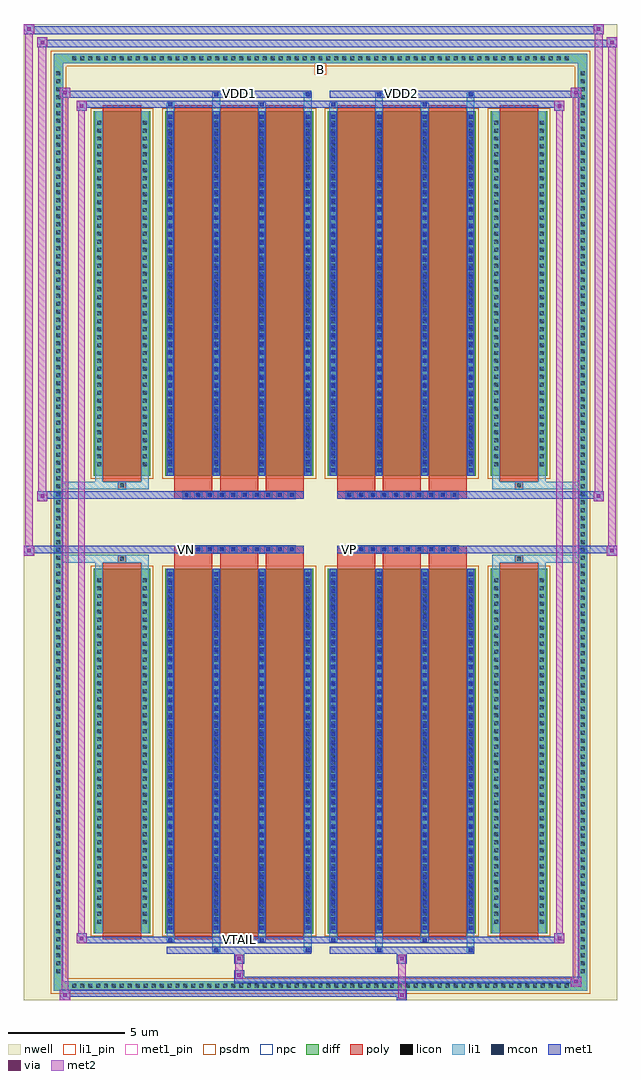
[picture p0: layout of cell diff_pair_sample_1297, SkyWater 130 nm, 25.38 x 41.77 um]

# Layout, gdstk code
import gdstk
lib = gdstk.Library(unit=1e-6, precision=5e-09)
def R(c, l, rs):  # rectangles x0, y0, x1, y1
    for r in rs: c.add(gdstk.rectangle(r[:2], r[2:], *l))
def A(c, l, x, y, w, h, nx, ny, dx, dy):  # array of equal rectangles
    R(c, l, [(x+i*dx, y+j*dy, x+i*dx+w, y+j*dy+h) for i in range(nx) for j in range(ny)])
def P(c, l, *ps):  # polygons
    for p in ps: c.add(gdstk.Polygon(p, *l))
nwell = (64, 20)
diff = (65, 20)
poly = (66, 20)
licon = (66, 44)
li1_pin = (67, 16)
li1 = (67, 20)
mcon = (67, 44)
met1_pin = (68, 16)
met1 = (68, 20)
via = (68, 44)
met2 = (69, 20)
psdm = (94, 20)
npc = (95, 20)

diff_pair_sample_1297 = lib.new_cell('diff_pair_sample_1297')
R(diff_pair_sample_1297, nwell, [(-12.69,-20.45,12.69,21.32), (-10.01,-18.64,-0.01,-0.8), (0.01,-18.64,10.01,-0.8), (-10.01,0.8,-0.01,18.64), (0.01,0.8,10.01,18.64)])
A(diff_pair_sample_1297, diff, -10.745, -20.05, 0.41, 0.41, 63, 2, 0.34, 39.69)
A(diff_pair_sample_1297, diff, -11.42, -19.415, 0.41, 0.41, 1, 114, 0, 0.34)
A(diff_pair_sample_1297, diff, 11.01, -19.415, 0.41, 0.41, 1, 114, 0, 0.34)
R(diff_pair_sample_1297, diff, [(-10.745,-20.05,10.745,-19.64), (-11.42,-19.415,-11.01,19.415), (11.01,-19.415,11.42,19.415), (-9.7,-17.595,-7.29,-1.985), (-6.65,-17.595,-0.32,-1.985), (0.32,-17.595,6.65,-1.985), (7.29,-17.595,9.7,-1.985), (-9.7,1.985,-7.29,17.595), (-6.65,1.985,-0.32,17.595), (0.32,1.985,6.65,17.595), (7.29,1.985,9.7,17.595), (-10.745,19.64,10.745,20.05)])
P(diff_pair_sample_1297, diff, [(11.42,20.05),(-11.42,20.05),(-11.42,-19.64),(-11.01,-19.64),(-11.01,19.64),(11.01,19.64),(11.01,-19.64),(-11.01,-19.64),(-11.42,-19.64),(-11.42,-20.05),(11.42,-20.05)])
A(diff_pair_sample_1297, poly, -6.26, -17.845, 1.63, 16.11, 3, 2, 1.96, 19.58)
A(diff_pair_sample_1297, poly, 0.71, -17.845, 1.63, 16.11, 3, 2, 1.96, 19.58)
A(diff_pair_sample_1297, poly, -6.26, -1.735, 1.63, 0.405, 3, 2, 1.96, 3.065)
A(diff_pair_sample_1297, poly, 0.71, -1.735, 1.63, 0.405, 3, 2, 1.96, 3.065)
A(diff_pair_sample_1297, poly, -5.9, -1.33, 0.33, 0.33, 10, 2, 0.5, 2.33)
A(diff_pair_sample_1297, poly, 1.07, -1.33, 0.33, 0.33, 10, 2, 0.5, 2.33)
R(diff_pair_sample_1297, poly, [(-9.31,-17.845,-7.68,-1.735), (7.68,-17.845,9.31,-1.735), (-8.66,-1.735,-8.33,-1.405), (-8.66,-1.735,-8.33,-1.405), (8.33,-1.735,8.66,-1.405), (8.33,-1.735,8.66,-1.405), (-6.26,-1.33,-0.71,-1), (0.71,-1.33,6.26,-1), (-6.26,1,-0.71,1.33), (0.71,1,6.26,1.33), (-8.66,1.405,-8.33,1.735), (-8.66,1.405,-8.33,1.735), (8.33,1.405,8.66,1.735), (8.33,1.405,8.66,1.735), (-9.31,1.735,-7.68,17.845), (7.68,1.735,9.31,17.845)])
A(diff_pair_sample_1297, licon, -10.625, -19.93, 0.17, 0.17, 63, 2, 0.34, 39.69)
A(diff_pair_sample_1297, licon, -11.3, -19.295, 0.17, 0.17, 1, 114, 0, 0.34)
A(diff_pair_sample_1297, licon, 11.13, -19.295, 0.17, 0.17, 1, 114, 0, 0.34)
A(diff_pair_sample_1297, licon, -9.56, -17.185, 0.17, 0.17, 1, 44, 0, 0.34)
A(diff_pair_sample_1297, licon, -7.6, -17.185, 0.17, 0.17, 1, 44, 0, 0.34)
A(diff_pair_sample_1297, licon, -6.51, -17.185, 0.17, 0.17, 4, 44, 1.96, 0.34)
A(diff_pair_sample_1297, licon, 0.46, -17.185, 0.17, 0.17, 4, 44, 1.96, 0.34)
A(diff_pair_sample_1297, licon, 7.43, -17.185, 0.17, 0.17, 1, 44, 0, 0.34)
A(diff_pair_sample_1297, licon, 9.39, -17.185, 0.17, 0.17, 1, 44, 0, 0.34)
A(diff_pair_sample_1297, licon, -5.82, -1.25, 0.17, 0.17, 10, 2, 0.5, 2.33)
A(diff_pair_sample_1297, licon, 1.15, -1.25, 0.17, 0.17, 10, 2, 0.5, 2.33)
A(diff_pair_sample_1297, licon, -9.56, 2.395, 0.17, 0.17, 1, 44, 0, 0.34)
A(diff_pair_sample_1297, licon, -7.6, 2.395, 0.17, 0.17, 1, 44, 0, 0.34)
A(diff_pair_sample_1297, licon, -6.51, 2.395, 0.17, 0.17, 4, 44, 1.96, 0.34)
A(diff_pair_sample_1297, licon, 0.46, 2.395, 0.17, 0.17, 4, 44, 1.96, 0.34)
A(diff_pair_sample_1297, licon, 7.43, 2.395, 0.17, 0.17, 1, 44, 0, 0.34)
A(diff_pair_sample_1297, licon, 9.39, 2.395, 0.17, 0.17, 1, 44, 0, 0.34)
R(diff_pair_sample_1297, licon, [(-8.58,-1.655,-8.41,-1.485), (8.41,-1.655,8.58,-1.485), (-8.58,1.485,-8.41,1.655), (8.41,1.485,8.58,1.655)])
R(diff_pair_sample_1297, li1_pin, [(-0.25,19.14,0.25,19.64)])
A(diff_pair_sample_1297, li1, -10.705, -20.01, 0.33, 0.33, 63, 2, 0.34, 39.69)
A(diff_pair_sample_1297, li1, -11.38, -19.375, 0.33, 0.33, 1, 114, 0, 0.34)
A(diff_pair_sample_1297, li1, 11.05, -19.375, 0.33, 0.33, 1, 114, 0, 0.34)
A(diff_pair_sample_1297, li1, -6.59, -17.595, 0.33, 15.61, 4, 2, 1.96, 19.58)
A(diff_pair_sample_1297, li1, 0.38, -17.595, 0.33, 15.61, 4, 2, 1.96, 19.58)
A(diff_pair_sample_1297, li1, -6.51, -17.435, 0.17, 0.17, 4, 43, 1.96, 0.36)
A(diff_pair_sample_1297, li1, -6.51, -17.435, 0.17, 15.29, 4, 2, 1.96, 19.58)
A(diff_pair_sample_1297, li1, 0.46, -17.435, 0.17, 0.17, 4, 43, 1.96, 0.36)
A(diff_pair_sample_1297, li1, 0.46, -17.435, 0.17, 15.29, 4, 2, 1.96, 19.58)
A(diff_pair_sample_1297, li1, -9.64, -17.265, 0.33, 0.33, 1, 44, 0, 0.34)
A(diff_pair_sample_1297, li1, -7.68, -17.265, 0.33, 0.33, 1, 44, 0, 0.34)
A(diff_pair_sample_1297, li1, -6.59, -17.265, 0.33, 0.33, 4, 44, 1.96, 0.34)
A(diff_pair_sample_1297, li1, 0.38, -17.265, 0.33, 0.33, 4, 44, 1.96, 0.34)
A(diff_pair_sample_1297, li1, 7.35, -17.265, 0.33, 0.33, 1, 44, 0, 0.34)
A(diff_pair_sample_1297, li1, 9.31, -17.265, 0.33, 0.33, 1, 44, 0, 0.34)
A(diff_pair_sample_1297, li1, -5.9, -1.33, 0.33, 0.33, 10, 2, 0.5, 2.33)
A(diff_pair_sample_1297, li1, 1.07, -1.33, 0.33, 0.33, 10, 2, 0.5, 2.33)
A(diff_pair_sample_1297, li1, -6.51, 2.145, 0.17, 0.17, 4, 43, 1.96, 0.36)
A(diff_pair_sample_1297, li1, 0.46, 2.145, 0.17, 0.17, 4, 43, 1.96, 0.36)
A(diff_pair_sample_1297, li1, -9.64, 2.315, 0.33, 0.33, 1, 44, 0, 0.34)
A(diff_pair_sample_1297, li1, -7.68, 2.315, 0.33, 0.33, 1, 44, 0, 0.34)
A(diff_pair_sample_1297, li1, -6.59, 2.315, 0.33, 0.33, 4, 44, 1.96, 0.34)
A(diff_pair_sample_1297, li1, 0.38, 2.315, 0.33, 0.33, 4, 44, 1.96, 0.34)
A(diff_pair_sample_1297, li1, 7.35, 2.315, 0.33, 0.33, 1, 44, 0, 0.34)
A(diff_pair_sample_1297, li1, 9.31, 2.315, 0.33, 0.33, 1, 44, 0, 0.34)
R(diff_pair_sample_1297, li1, [(-11.42,-20.05,-11.01,-19.64), (-11.42,-20.05,-11.01,-19.64), (-11.01,-20.05,11.01,-19.64), (11.01,-20.05,11.42,-19.64), (11.01,-20.05,11.42,-19.64), (-11.42,-19.64,-11.01,19.64), (11.01,-19.64,11.42,19.64), (-4.63,-18.4,-4.3,-17.595), (-4.55,-18.4,-4.38,-18.23), (-0.71,-18.4,-0.38,-17.595), (-0.63,-18.4,-0.46,-18.23), (2.34,-18.4,2.67,-17.595), (2.42,-18.4,2.59,-18.23), (6.26,-18.4,6.59,-17.595), (6.34,-18.4,6.51,-18.23), (-6.59,-17.97,-6.26,-17.595), (-6.51,-17.97,-6.34,-17.8), (-2.67,-17.97,-2.34,-17.595), (-2.59,-17.97,-2.42,-17.8), (0.38,-17.97,0.71,-17.595), (0.46,-17.97,0.63,-17.8), (4.3,-17.97,4.63,-17.595), (4.38,-17.97,4.55,-17.8), (-9.64,-17.595,-9.31,-1.985), (-7.68,-17.595,-7.35,-1.985), (7.35,-17.595,7.68,-1.985), (9.31,-17.595,9.64,-1.985), (-9.64,-1.985,-9.31,-1.405), (-7.68,-1.985,-7.35,-1.405), (7.35,-1.985,7.68,-1.405), (9.31,-1.985,9.64,-1.405), (-11.42,-1.735,-8.66,-1.405), (-9.64,-1.735,-8.66,-1.405), (-8.66,-1.735,-8.33,-1.405), (-8.33,-1.735,-7.35,-1.405), (7.35,-1.735,8.33,-1.405), (8.33,-1.735,8.66,-1.405), (8.33,-1.735,11.42,-1.405), (8.66,-1.735,9.64,-1.405), (-11.42,1.405,-8.66,1.735), (-9.64,1.405,-8.66,1.735), (-9.64,1.405,-9.31,1.985), (-8.66,1.405,-8.33,1.735), (-8.33,1.405,-7.35,1.735), (-7.68,1.405,-7.35,1.985), (7.35,1.405,8.33,1.735), (7.35,1.405,7.68,1.985), (8.33,1.405,8.66,1.735), (8.33,1.405,11.42,1.735), (8.66,1.405,9.64,1.735), (9.31,1.405,9.64,1.985), (-9.64,1.985,-9.31,17.595), (-7.68,1.985,-7.35,17.595), (7.35,1.985,7.68,17.595), (9.31,1.985,9.64,17.595), (-6.59,17.595,-6.26,17.97), (-4.63,17.595,-4.3,18.4), (-2.67,17.595,-2.34,17.97), (-0.71,17.595,-0.38,18.4), (0.38,17.595,0.71,17.97), (2.34,17.595,2.67,18.4), (4.3,17.595,4.63,17.97), (6.26,17.595,6.59,18.4), (-6.51,17.8,-6.34,17.97), (-2.59,17.8,-2.42,17.97), (0.46,17.8,0.63,17.97), (4.38,17.8,4.55,17.97), (-4.55,18.23,-4.38,18.4), (-0.63,18.23,-0.46,18.4), (2.42,18.23,2.59,18.4), (6.34,18.23,6.51,18.4), (-11.42,19.64,-11.01,20.05), (-11.42,19.64,-11.01,20.05), (-11.01,19.64,11.01,20.05), (11.01,19.64,11.42,20.05), (11.01,19.64,11.42,20.05)])
A(diff_pair_sample_1297, mcon, -6.51, -17.435, 0.17, 0.17, 4, 43, 1.96, 0.36)
A(diff_pair_sample_1297, mcon, 0.46, -17.435, 0.17, 0.17, 4, 43, 1.96, 0.36)
A(diff_pair_sample_1297, mcon, -5.82, -1.25, 0.17, 0.17, 10, 2, 0.5, 2.33)
A(diff_pair_sample_1297, mcon, 1.15, -1.25, 0.17, 0.17, 10, 2, 0.5, 2.33)
A(diff_pair_sample_1297, mcon, -6.51, 2.145, 0.17, 0.17, 4, 43, 1.96, 0.36)
A(diff_pair_sample_1297, mcon, 0.46, 2.145, 0.17, 0.17, 4, 43, 1.96, 0.36)
R(diff_pair_sample_1297, mcon, [(-4.55,-18.4,-4.38,-18.23), (-0.63,-18.4,-0.46,-18.23), (2.42,-18.4,2.59,-18.23), (6.34,-18.4,6.51,-18.23), (-6.51,-17.97,-6.34,-17.8), (-2.59,-17.97,-2.42,-17.8), (0.46,-17.97,0.63,-17.8), (4.38,-17.97,4.55,-17.8), (-6.51,17.8,-6.34,17.97), (-2.59,17.8,-2.42,17.97), (0.46,17.8,0.63,17.97), (4.38,17.8,4.55,17.97), (-4.55,18.23,-4.38,18.4), (-0.63,18.23,-0.46,18.4), (2.42,18.23,2.59,18.4), (6.34,18.23,6.51,18.4)])
R(diff_pair_sample_1297, met1_pin, [(-3.62,-18.01,-3.35,-17.74), (-5.87,-1.29,-5.6,-1.02), (1.1,-1.29,1.37,-1.02), (-3.62,18.19,-3.35,18.46), (3.35,18.19,3.62,18.46)])
A(diff_pair_sample_1297, met1, -6.57, -17.595, 0.29, 15.61, 4, 2, 1.96, 19.58)
A(diff_pair_sample_1297, met1, 0.4, -17.595, 0.29, 15.61, 4, 2, 1.96, 19.58)
A(diff_pair_sample_1297, met1, -6.57, -17.495, 0.29, 0.29, 4, 43, 1.96, 0.36)
A(diff_pair_sample_1297, met1, 0.4, -17.495, 0.29, 0.29, 4, 43, 1.96, 0.36)
A(diff_pair_sample_1297, met1, -5.88, -1.31, 0.29, 0.29, 10, 2, 0.5, 2.33)
A(diff_pair_sample_1297, met1, 1.09, -1.31, 0.29, 0.29, 10, 2, 0.5, 2.33)
A(diff_pair_sample_1297, met1, -6.57, 2.085, 0.29, 0.29, 4, 43, 1.96, 0.36)
A(diff_pair_sample_1297, met1, 0.4, 2.085, 0.29, 0.29, 4, 43, 1.96, 0.36)
R(diff_pair_sample_1297, met1, [(-11.15,-20.45,-10.72,-20.02), (3.27,-20.45,3.7,-20.02), (-11.15,-20.31,3.7,-20.02), (10.72,-19.88,11.15,-19.45), (-3.7,-19.74,11.15,-19.45), (-3.7,-19.6,-3.27,-19.17), (-3.7,-18.89,-3.27,-18.46), (3.27,-18.89,3.7,-18.46), (-6.57,-18.46,-0.4,-18.17), (-4.61,-18.46,-4.32,-18.17), (-0.69,-18.46,-0.4,-18.17), (0.4,-18.46,6.57,-18.17), (2.36,-18.46,2.65,-18.17), (6.28,-18.46,6.57,-18.17), (-10.44,-18.03,-10.01,-17.6), (-10.44,-18.03,-6.57,-17.74), (-6.57,-18.03,-6.28,-17.74), (-6.57,-18.03,-0.4,-17.74), (-2.65,-18.03,-2.36,-17.74), (-0.4,-18.03,0.4,-17.74), (0.4,-18.03,0.69,-17.74), (0.4,-18.03,6.57,-17.74), (4.32,-18.03,4.61,-17.74), (6.57,-18.03,10.44,-17.74), (10.01,-18.03,10.44,-17.6), (-12.69,-1.43,-12.26,-1), (12.26,-1.43,12.69,-1), (-12.69,-1.33,-0.71,-1), (-6.26,-1.33,-0.71,-1), (0.71,-1.33,6.26,-1), (0.71,-1.33,12.69,-1), (-12.12,0.9,-11.69,1.33), (11.69,0.9,12.12,1.33), (-12.12,1,-6.26,1.33), (-6.26,1,-0.71,1.33), (0.71,1,6.26,1.33), (6.26,1,12.12,1.33), (-10.44,17.6,-10.01,18.03), (10.01,17.6,10.44,18.03), (-10.44,17.74,-6.57,18.03), (-6.57,17.74,-6.28,18.03), (-6.57,17.74,-0.4,18.03), (-2.65,17.74,-2.36,18.03), (-0.4,17.74,0.4,18.03), (0.4,17.74,0.69,18.03), (0.4,17.74,6.57,18.03), (4.32,17.74,4.61,18.03), (6.57,17.74,10.44,18.03), (-11.15,18.17,-10.72,18.6), (-11.15,18.17,-6.57,18.46), (-6.57,18.17,-0.4,18.46), (-4.61,18.17,-4.32,18.46), (-0.69,18.17,-0.4,18.46), (0.4,18.17,6.57,18.46), (2.36,18.17,2.65,18.46), (6.28,18.17,6.57,18.46), (6.57,18.17,11.15,18.46), (10.72,18.17,11.15,18.6), (-12.12,20.32,-11.69,20.75), (-12.12,20.32,-10.01,20.65), (-10.01,20.32,10.01,20.65), (10.01,20.32,12.69,20.65), (12.26,20.32,12.69,20.75), (-12.69,20.89,-12.26,21.32), (-12.69,20.89,-10.01,21.22), (-10.01,20.89,10.01,21.22), (10.01,20.89,12.12,21.22), (11.69,20.89,12.12,21.32)])
R(diff_pair_sample_1297, via, [(-11.01,-20.31,-10.86,-20.16), (3.41,-20.31,3.56,-20.16), (10.86,-19.74,11.01,-19.59), (-3.56,-19.46,-3.41,-19.31), (-3.56,-18.75,-3.41,-18.6), (3.41,-18.75,3.56,-18.6), (-10.3,-17.89,-10.15,-17.74), (10.15,-17.89,10.3,-17.74), (-12.55,-1.29,-12.4,-1.14), (12.4,-1.29,12.55,-1.14), (-11.98,1.04,-11.83,1.19), (11.83,1.04,11.98,1.19), (-10.3,17.74,-10.15,17.89), (10.15,17.74,10.3,17.89), (-11.01,18.31,-10.86,18.46), (10.86,18.31,11.01,18.46), (-11.98,20.46,-11.83,20.61), (12.4,20.46,12.55,20.61), (-12.55,21.03,-12.4,21.18), (11.83,21.03,11.98,21.18)])
R(diff_pair_sample_1297, met2, [(-11.15,-20.45,-10.72,-20.02), (-11.08,-20.45,-10.79,18.6), (-10.79,-20.45,-10.72,-20.02), (-11.1,-20.4,-10.77,-20.07), (3.32,-20.4,3.65,-20.07), (3.32,-20.07,3.65,-18.84), (10.72,-19.88,11.15,-19.45), (10.79,-19.88,11.08,18.6), (11.08,-19.88,11.15,-19.45), (10.77,-19.83,11.1,-19.5), (-3.65,-19.55,-3.32,-19.22), (-3.65,-19.22,-3.32,-18.84), (-3.65,-18.84,-3.32,-18.51), (3.32,-18.84,3.65,-18.51), (-10.44,-18.03,-10.01,-17.6), (-10.37,-18.03,-10.08,18.03), (-10.08,-18.03,-10.01,-17.6), (10.01,-18.03,10.44,-17.6), (10.08,-18.03,10.37,18.03), (10.37,-18.03,10.44,-17.6), (-10.39,-17.98,-10.06,-17.65), (10.06,-17.98,10.39,-17.65), (-12.69,-1.43,-12.26,-1), (-12.64,-1.43,-12.31,21.32), (-12.31,-1.43,-12.26,-1), (12.26,-1.43,12.69,-1), (12.31,-1.43,12.64,20.75), (12.64,-1.43,12.69,-1), (-12.64,-1.38,-12.31,-1.05), (12.31,-1.38,12.64,-1.05), (-12.12,0.9,-11.69,1.33), (-12.07,0.9,-11.74,20.75), (-11.74,0.9,-11.69,1.33), (11.69,0.9,12.12,1.33), (11.74,0.9,12.07,21.32), (12.07,0.9,12.12,1.33), (-12.07,0.95,-11.74,1.28), (11.74,0.95,12.07,1.28), (-10.44,17.6,-10.01,18.03), (-10.08,17.6,-10.01,18.03), (10.01,17.6,10.44,18.03), (10.37,17.6,10.44,18.03), (-10.39,17.65,-10.06,17.98), (10.06,17.65,10.39,17.98), (-11.15,18.17,-10.72,18.6), (-10.79,18.17,-10.72,18.6), (10.72,18.17,11.15,18.6), (11.08,18.17,11.15,18.6), (-11.1,18.22,-10.77,18.55), (10.77,18.22,11.1,18.55), (-12.12,20.32,-11.69,20.75), (-11.74,20.32,-11.69,20.75), (12.26,20.32,12.69,20.75), (12.64,20.32,12.69,20.75), (-12.07,20.37,-11.74,20.7), (12.31,20.37,12.64,20.7), (-12.69,20.89,-12.26,21.32), (-12.31,20.89,-12.26,21.32), (11.69,20.89,12.12,21.32), (12.07,20.89,12.12,21.32), (-12.64,20.94,-12.31,21.27), (11.74,20.94,12.07,21.27)])
R(diff_pair_sample_1297, psdm, [(-9.83,-17.725,-7.16,-1.855), (-6.78,-17.725,-0.19,-1.855), (0.19,-17.725,6.78,-1.855), (7.16,-17.725,9.83,-1.855), (-9.83,1.855,-7.16,17.725), (-6.78,1.855,-0.19,17.725), (0.19,1.855,6.78,17.725), (7.16,1.855,9.83,17.725)])
P(diff_pair_sample_1297, psdm, [(11.55,20.18),(-11.55,20.18),(-11.55,-19.51),(-10.88,-19.51),(-10.88,19.51),(10.88,19.51),(10.88,-19.51),(-10.88,-19.51),(-11.55,-19.51),(-11.55,-20.18),(11.55,-20.18)])
A(diff_pair_sample_1297, npc, -5.92, -1.35, 0.37, 0.37, 10, 2, 0.5, 2.33)
A(diff_pair_sample_1297, npc, 1.05, -1.35, 0.37, 0.37, 10, 2, 0.5, 2.33)
R(diff_pair_sample_1297, npc, [(-8.68,-1.755,-8.31,-1.385), (8.31,-1.755,8.68,-1.385), (-5.92,-1.35,-5.05,-0.98), (-5.92,-1.35,-5.05,-0.98), (-5.42,-1.35,-4.55,-0.98), (-5.42,-1.35,-4.55,-0.98), (-4.92,-1.35,-4.05,-0.98), (-4.92,-1.35,-4.05,-0.98), (-4.42,-1.35,-3.55,-0.98), (-4.42,-1.35,-3.55,-0.98), (-3.92,-1.35,-3.05,-0.98), (-3.92,-1.35,-3.05,-0.98), (-3.42,-1.35,-2.55,-0.98), (-3.42,-1.35,-2.55,-0.98), (-2.92,-1.35,-2.05,-0.98), (-2.92,-1.35,-2.05,-0.98), (-2.42,-1.35,-1.55,-0.98), (-2.42,-1.35,-1.55,-0.98), (-1.92,-1.35,-1.05,-0.98), (-1.92,-1.35,-1.05,-0.98), (1.05,-1.35,1.92,-0.98), (1.05,-1.35,1.92,-0.98), (1.55,-1.35,2.42,-0.98), (1.55,-1.35,2.42,-0.98), (2.05,-1.35,2.92,-0.98), (2.05,-1.35,2.92,-0.98), (2.55,-1.35,3.42,-0.98), (2.55,-1.35,3.42,-0.98), (3.05,-1.35,3.92,-0.98), (3.05,-1.35,3.92,-0.98), (3.55,-1.35,4.42,-0.98), (3.55,-1.35,4.42,-0.98), (4.05,-1.35,4.92,-0.98), (4.05,-1.35,4.92,-0.98), (4.55,-1.35,5.42,-0.98), (4.55,-1.35,5.42,-0.98), (5.05,-1.35,5.92,-0.98), (5.05,-1.35,5.92,-0.98), (-5.92,0.98,-5.05,1.35), (-5.92,0.98,-5.05,1.35), (-5.42,0.98,-4.55,1.35), (-5.42,0.98,-4.55,1.35), (-4.92,0.98,-4.05,1.35), (-4.92,0.98,-4.05,1.35), (-4.42,0.98,-3.55,1.35), (-4.42,0.98,-3.55,1.35), (-3.92,0.98,-3.05,1.35), (-3.92,0.98,-3.05,1.35), (-3.42,0.98,-2.55,1.35), (-3.42,0.98,-2.55,1.35), (-2.92,0.98,-2.05,1.35), (-2.92,0.98,-2.05,1.35), (-2.42,0.98,-1.55,1.35), (-2.42,0.98,-1.55,1.35), (-1.92,0.98,-1.05,1.35), (-1.92,0.98,-1.05,1.35), (1.05,0.98,1.92,1.35), (1.05,0.98,1.92,1.35), (1.55,0.98,2.42,1.35), (1.55,0.98,2.42,1.35), (2.05,0.98,2.92,1.35), (2.05,0.98,2.92,1.35), (2.55,0.98,3.42,1.35), (2.55,0.98,3.42,1.35), (3.05,0.98,3.92,1.35), (3.05,0.98,3.92,1.35), (3.55,0.98,4.42,1.35), (3.55,0.98,4.42,1.35), (4.05,0.98,4.92,1.35), (4.05,0.98,4.92,1.35), (4.55,0.98,5.42,1.35), (4.55,0.98,5.42,1.35), (5.05,0.98,5.92,1.35), (5.05,0.98,5.92,1.35), (-8.68,1.385,-8.31,1.755), (8.31,1.385,8.68,1.755)])
diff_pair_sample_1297.add(gdstk.Label('VTAIL', (-3.485,-17.875), layer=68, texttype=5))
diff_pair_sample_1297.add(gdstk.Label('VN', (-5.735,-1.155), layer=68, texttype=5))
diff_pair_sample_1297.add(gdstk.Label('VP', (1.235,-1.155), layer=68, texttype=5))
diff_pair_sample_1297.add(gdstk.Label('B', (0,19.39), layer=67, texttype=5))
diff_pair_sample_1297.add(gdstk.Label('VDD2', (3.485,18.325), layer=68, texttype=5))
diff_pair_sample_1297.add(gdstk.Label('VDD1', (-3.485,18.325), layer=68, texttype=5))

lib.write_gds('diff_pair_sample_1297.gds')
